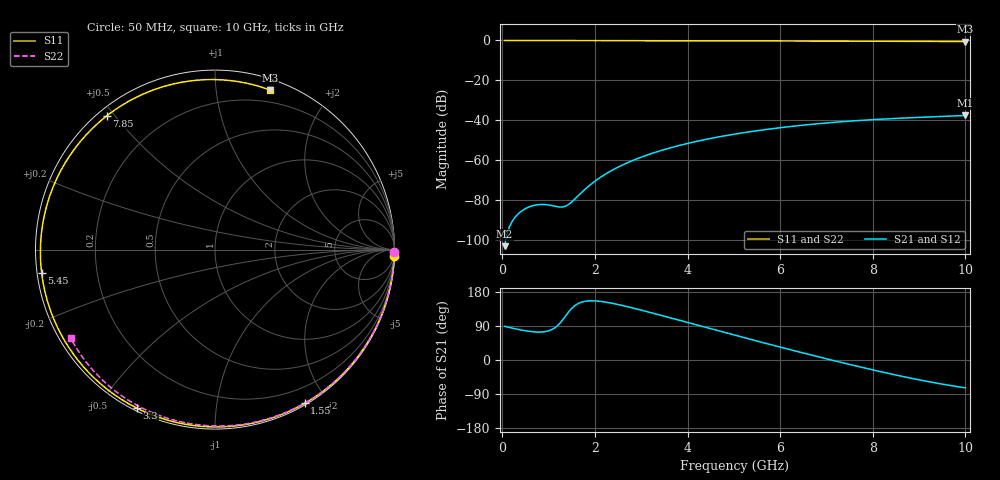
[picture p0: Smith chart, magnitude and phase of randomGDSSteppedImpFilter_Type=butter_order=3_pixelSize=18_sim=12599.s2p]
! freq	dB(S11)	phase(S11)	dB(S12)	phase(S12)
!  dB(S21)	phase(S21)	dB(S22)	phase(S22)
!S-par simulation data
#  GHz  S  DB  R 50
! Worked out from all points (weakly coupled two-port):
!   200 points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, 50 MHz to 10 GHz, reference 50 ohm
!   highest |S21| = -37.59 dB at 10 GHz (marker M1); lowest = -103.0 dB at 50 MHz (marker M2)
!   lowest |S11| = -0.5 dB at 10 GHz (marker M3), VSWR 32.76, Z = 4.51 + j69.9 ohm
!   |S11| at or under -10 dB: nowhere
!   |S22| runs from -0.5 to 0.0 dB; largest |S21 - S12| = 0
!   S11 on the Smith chart (normalised r, x): 50 MHz: 0, -57; 1.55 GHz: 0.02, -1.74; 3.3 GHz: 0.01, -0.62; 5.45 GHz: 0.01, -0.07; 7.85 GHz: 0.03, +0.48; 10 GHz: 0.09, +1.40
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0.05  -0.00 -2.0  -103.04 88.9  -103.04 88.9  -0.00 -0.9
0.4  -0.02 -16.0  -85.71 79.3  -85.71 79.3  -0.01 -6.8
0.75  -0.04 -29.7  -82.33 73.8  -82.33 73.8  -0.02 -12.8
1.15  -0.06 -45.0  -83.09 86.4  -83.09 86.4  -0.02 -19.5
1.55  -0.07 -59.8  -79.79 141.9  -79.79 141.9  -0.03 -26.2
1.75  -0.08 -66.9  -75.29 154.0  -75.29 154.0  -0.04 -29.5
2.05  -0.09 -77.2  -69.64 155.6  -69.64 155.6  -0.04 -34.5
2.4  -0.10 -88.8  -64.65 148.9  -64.65 148.9  -0.05 -40.2
2.8  -0.12 -101.4  -60.27 137.8  -60.27 137.8  -0.06 -46.6
3.3  -0.13 -116.2  -56.04 122.0  -56.04 122.0  -0.07 -54.5
3.4  -0.14 -119.1  -55.32 118.7  -55.32 118.7  -0.07 -56.1
4.25  -0.17 -142.2  -50.26 90.6  -50.26 90.6  -0.10 -69.1
5.05  -0.20 -162.5  -46.78 64.4  -46.78 64.4  -0.12 -81.0
5.45  -0.22 -172.4  -45.37 51.5  -45.37 51.5  -0.14 -86.8
6.05  -0.26 173.1  -43.56 32.5  -43.56 32.5  -0.17 -95.3
6.7  -0.29 157.4  -41.96 12.3  -41.96 12.3  -0.20 -104.3
7.25  -0.33 144.0  -40.85 -4.4  -40.85 -4.4  -0.24 -111.8
7.85  -0.37 129.0  -39.87 -21.9  -39.87 -21.9  -0.28 -119.9
8.35  -0.40 116.2  -39.22 -35.7  -39.22 -35.7  -0.33 -126.5
9.2  -0.46 93.5  -38.33 -57.0  -38.33 -57.0  -0.41 -137.8
9.6  -0.49 82.4  -37.96 -65.8  -37.96 -65.8  -0.46 -143.1
10  -0.53 71.0  -37.59 -73.5  -37.59 -73.5  -0.50 -148.5
